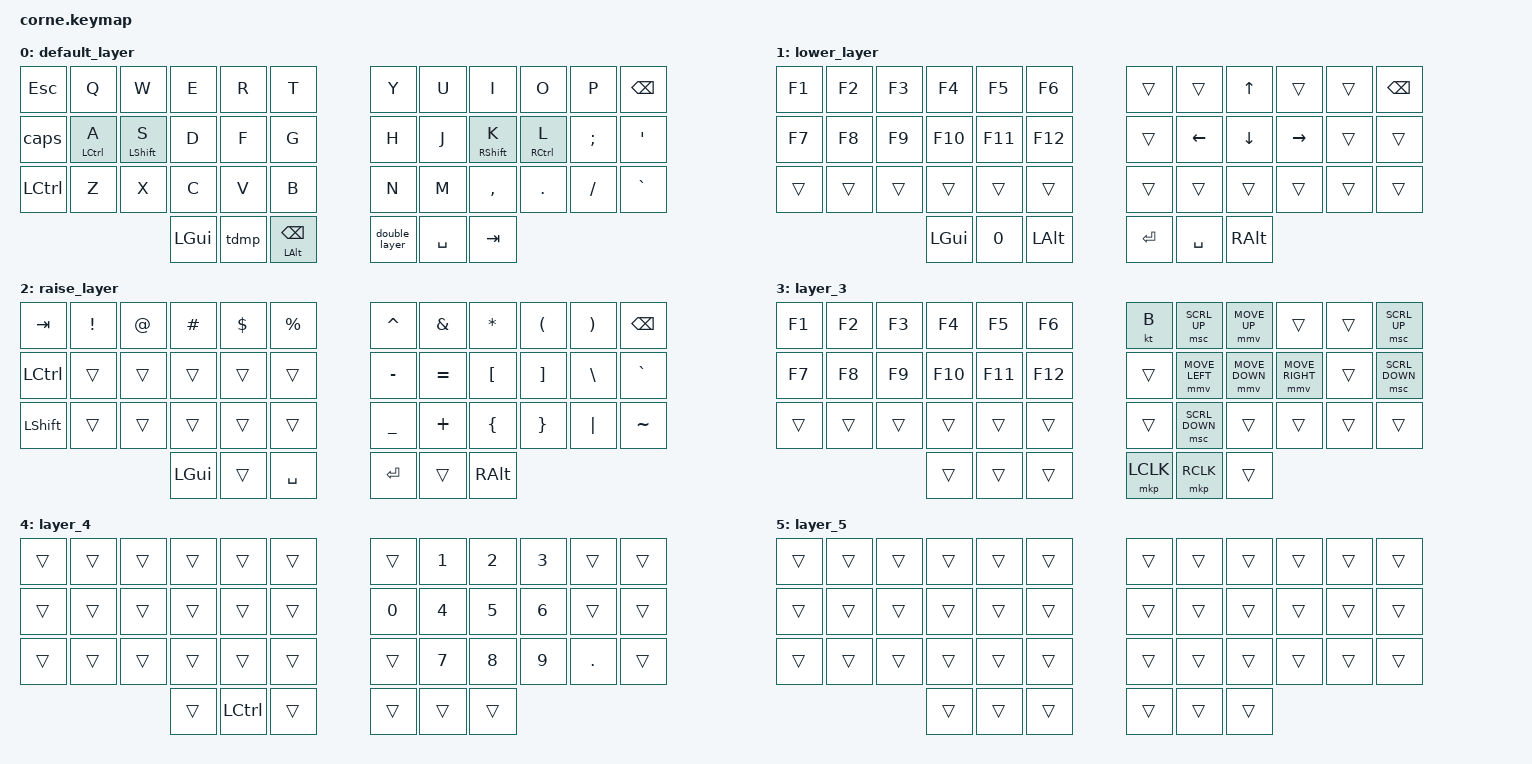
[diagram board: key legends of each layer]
/*
 * Copyright (c) 2020 The ZMK Contributors
 *
 * SPDX-License-Identifier: MIT
 */

#define ZMK_POINTING_DEFAULT_MOVE_VAL 1500

#include <behaviors.dtsi>
#include <dt-bindings/zmk/keys.h>
#include <dt-bindings/zmk/pointing.h>

/ {
    behaviors {
        tdmp: tdmp {
            compatible = "zmk,behavior-tap-dance";
            label = "TDMP";
            #binding-cells = <0>;
            bindings = <&mo 2>, <&lt 3 DELETE>;
        };

        caps: caps {
            compatible = "zmk,behavior-tap-dance";
            label = "CAPS";
            #binding-cells = <0>;
            bindings = <&kp LEFT_SHIFT>, <&kp CAPSLOCK>;
        };

        hmr: hmr {
            compatible = "zmk,behavior-hold-tap";
            label = "HMR";
            bindings = <&kp>, <&kp>;

            #binding-cells = <2>;
            flavor = "balanced";
            tapping-term-ms = <225>;
            quick-tap-ms = <185>;
            require-prior-idle-ms = <180>;
            hold-trigger-key-positions = <6 7 8 9 10 11 18 19 20 21 22 23 30 31 32 33 34 35 39 40 41 38>;
            hold-trigger-on-release;
        };

        hml: hml {
            compatible = "zmk,behavior-hold-tap";
            label = "HML";
            bindings = <&kp>, <&kp>;

            #binding-cells = <2>;
            flavor = "balanced";
            tapping-term-ms = <225>;
            quick-tap-ms = <185>;
            require-prior-idle-ms = <180>;
            hold-trigger-on-release;
            hold-trigger-key-positions = <0 1 2 3 4 5 12 13 14 15 16 17 24 25 26 27 28 29 36 37 38>;
        };

        double_layer: double_layer {
            compatible = "zmk,behavior-tap-dance";
            label = "DOUBLE_LAYER";
            #binding-cells = <0>;
            bindings = <&lt 1 ENTER>, <&mo 3>;
        };
    };

    combos {
        compatible = "zmk,combos";

        jkjkj {
            bindings = <&mo 4>;
            key-positions = <13 16>;
        };
    };

    keymap {
        compatible = "zmk,keymap";

        default_layer {
            // -----------------------------------------------------------------------------------------
            // |  TAB |  Q  |  W  |  E  |  R  |  T  |   |  Y  |  U   |  I  |  O  |  P  | BSPC |
            // | CTRL |  A  |  S  |  D  |  F  |  G  |   |  H  |  J   |  K  |  L  |  ;  |  '   |
            // | SHFT |  Z  |  X  |  C  |  V  |  B  |   |  N  |  M   |  ,  |  .  |  /  | ESC  |
            //                    | GUI | LWR | SPC |   | ENT | RSE  | ALT |

            bindings = <
&kp ESCAPE        &kp Q                &kp W              &kp E     &kp R  &kp T                     &kp Y          &kp U      &kp I               &kp O                 &kp P     &kp BSPC
&caps             &hmr LEFT_CONTROL A  &hmr LEFT_SHIFT S  &kp D     &kp F  &kp G                     &kp H          &kp J      &hml RIGHT_SHIFT K  &hml RIGHT_CONTROL L  &kp SEMI  &kp SQT
&kp LEFT_CONTROL  &kp Z                &kp X              &kp C     &kp V  &kp B                     &kp N          &kp M      &kp COMMA           &kp DOT               &kp FSLH  &kp GRAVE
                                                          &kp LGUI  &tdmp  &mt LEFT_ALT BACKSPACE    &double_layer  &kp SPACE  &kp TAB
            >;
        };

        lower_layer {
            // -----------------------------------------------------------------------------------------
            // |  TAB |  1  |  2  |  3  |  4  |  5  |   |  6  |  7  |  8  |  9  |  0  | BSPC |
            // | BTCLR| BT1 | BT2 | BT3 | BT4 | BT5 |   | LFT | DWN |  UP | RGT |     |      |
            // | SHFT |     |     |     |     |     |   |     |     |     |     |     |      |
            //                    | GUI |     | SPC |   | ENT |     | ALT |

            bindings = <
&kp F1  &kp F2  &kp F3  &kp F4    &kp F5        &kp F6          &trans   &trans          &kp UP_ARROW    &trans     &trans  &kp BACKSPACE
&kp F7  &kp F8  &kp F9  &kp F10   &kp F11       &kp F12         &trans   &kp LEFT_ARROW  &kp DOWN_ARROW  &kp RIGHT  &trans  &trans
&trans  &trans  &trans  &trans    &trans        &trans          &trans   &trans          &trans          &trans     &trans  &trans
                        &kp LGUI  &kp NUMBER_0  &kp LEFT_ALT    &kp RET  &kp SPACE       &kp RALT
            >;
        };

        raise_layer {
            // -----------------------------------------------------------------------------------------
            // |  TAB |  !  |  @  |  #  |  $  |  %  |   |  ^  |  &  |  *  |  (  |  )  | BSPC |
            // | CTRL |     |     |     |     |     |   |  -  |  =  |  [  |  ]  |  \  |  `   |
            // | SHFT |     |     |     |     |     |   |  _  |  +  |  {  |  }  | "|" |  ~   |
            //                    | GUI |     | SPC |   | ENT |     | ALT |

            bindings = <
&kp TAB    &kp EXCL  &kp AT  &kp HASH  &kp DLLR  &kp PRCNT    &kp CARET  &kp AMPS   &kp ASTRK  &kp LPAR  &kp RPAR  &kp BSPC
&kp LCTRL  &trans    &trans  &trans    &trans    &trans       &kp MINUS  &kp EQUAL  &kp LBKT   &kp RBKT  &kp BSLH  &kp GRAVE
&kp LSHFT  &trans    &trans  &trans    &trans    &trans       &kp UNDER  &kp PLUS   &kp LBRC   &kp RBRC  &kp PIPE  &kp TILDE
                             &kp LGUI  &trans    &kp SPACE    &kp RET    &trans     &kp RALT
            >;
        };

        layer_3 {
            bindings = <
&kp F1  &kp F2  &kp F3  &kp F4   &kp F5   &kp F6     &kt B      &msc SCRL_UP    &mmv MOVE_UP    &trans           &trans  &msc SCRL_UP
&kp F7  &kp F8  &kp F9  &kp F10  &kp F11  &kp F12    &trans     &mmv MOVE_LEFT  &mmv MOVE_DOWN  &mmv MOVE_RIGHT  &trans  &msc SCRL_DOWN
&trans  &trans  &trans  &trans   &trans   &trans     &trans     &msc SCRL_DOWN  &trans          &trans           &trans  &trans
                        &trans   &trans   &trans     &mkp LCLK  &mkp RCLK       &trans
            >;
        };

        layer_4 {
            bindings = <
&trans  &trans  &trans  &trans  &trans            &trans    &trans  &kp NUMBER_1  &kp NUMBER_2  &kp NUMBER_3  &trans      &trans
&trans  &trans  &trans  &trans  &trans            &trans    &kp N0  &kp NUMBER_4  &kp N5        &kp NUMBER_6  &trans      &trans
&trans  &trans  &trans  &trans  &trans            &trans    &trans  &kp N7        &kp N8        &kp N9        &kp PERIOD  &trans
                        &trans  &kp LEFT_CONTROL  &trans    &trans  &trans        &trans
            >;
        };

        layer_5 {
            bindings = <
&trans  &trans  &trans  &trans  &trans  &trans    &trans  &trans  &trans  &trans  &trans  &trans
&trans  &trans  &trans  &trans  &trans  &trans    &trans  &trans  &trans  &trans  &trans  &trans
&trans  &trans  &trans  &trans  &trans  &trans    &trans  &trans  &trans  &trans  &trans  &trans
                        &trans  &trans  &trans    &trans  &trans  &trans
            >;
        };
    };
};
